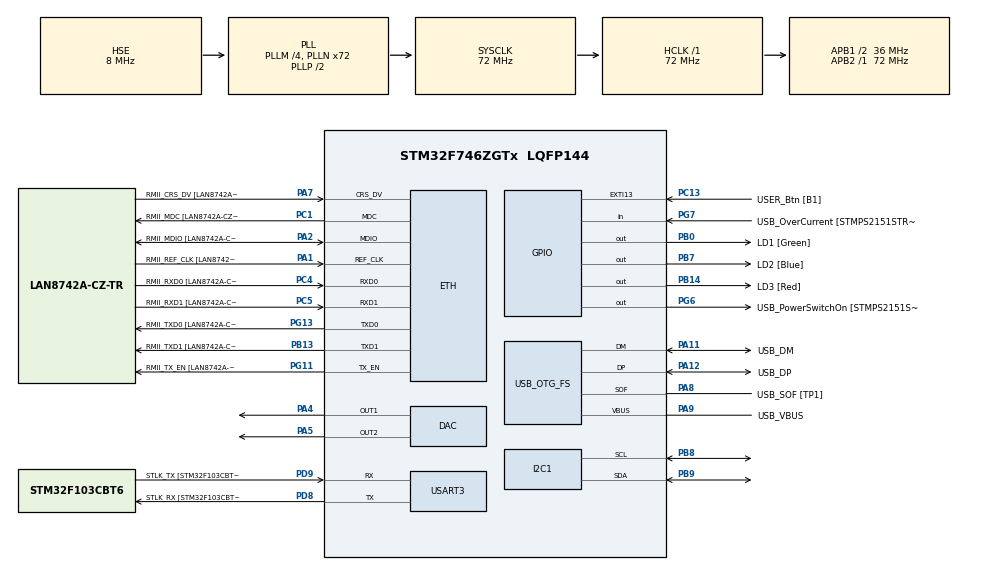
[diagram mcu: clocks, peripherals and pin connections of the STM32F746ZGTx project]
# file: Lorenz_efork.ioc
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DAC.DAC_Trigger=DAC_TRIGGER_T2_TRGO
DAC.DAC_Trigger2=DAC_TRIGGER_T2_TRGO
Dma.DAC1.0.Direction=DMA_MEMORY_TO_PERIPH
Dma.DAC1.0.FIFOMode=DMA_FIFOMODE_DISABLE
Dma.DAC1.0.Instance=DMA1_Stream5
Dma.DAC1.0.MemDataAlignment=DMA_MDATAALIGN_WORD
Dma.DAC1.0.MemInc=DMA_MINC_ENABLE
Dma.DAC1.0.Mode=DMA_CIRCULAR
Dma.DAC1.0.PeriphDataAlignment=DMA_PDATAALIGN_WORD
Dma.DAC1.0.PeriphInc=DMA_PINC_DISABLE
Dma.DAC1.0.Priority=DMA_PRIORITY_LOW
Dma.DAC2.1.Direction=DMA_MEMORY_TO_PERIPH
Dma.DAC2.1.FIFOMode=DMA_FIFOMODE_DISABLE
Dma.DAC2.1.Instance=DMA1_Stream6
Dma.DAC2.1.MemDataAlignment=DMA_MDATAALIGN_WORD
Dma.DAC2.1.MemInc=DMA_MINC_ENABLE
Dma.DAC2.1.Mode=DMA_CIRCULAR
Dma.DAC2.1.PeriphDataAlignment=DMA_PDATAALIGN_WORD
Dma.DAC2.1.PeriphInc=DMA_PINC_DISABLE
Dma.DAC2.1.Priority=DMA_PRIORITY_LOW
Dma.Request0=DAC1
Dma.Request1=DAC2
Dma.Request2=USART3_RX
Dma.Request3=USART3_TX
Dma.USART3_RX.2.Direction=DMA_PERIPH_TO_MEMORY
Dma.USART3_RX.2.FIFOMode=DMA_FIFOMODE_DISABLE
Dma.USART3_RX.2.Instance=DMA1_Stream1
Dma.USART3_RX.2.MemDataAlignment=DMA_MDATAALIGN_BYTE
Dma.USART3_RX.2.MemInc=DMA_MINC_ENABLE
Dma.USART3_RX.2.Mode=DMA_NORMAL
Dma.USART3_RX.2.PeriphDataAlignment=DMA_PDATAALIGN_BYTE
Dma.USART3_RX.2.PeriphInc=DMA_PINC_DISABLE
Dma.USART3_RX.2.Priority=DMA_PRIORITY_LOW
Dma.USART3_TX.3.Direction=DMA_MEMORY_TO_PERIPH
Dma.USART3_TX.3.FIFOMode=DMA_FIFOMODE_DISABLE
Dma.USART3_TX.3.Instance=DMA1_Stream3
Dma.USART3_TX.3.MemDataAlignment=DMA_MDATAALIGN_BYTE
Dma.USART3_TX.3.MemInc=DMA_MINC_ENABLE
Dma.USART3_TX.3.Mode=DMA_NORMAL
Dma.USART3_TX.3.PeriphDataAlignment=DMA_PDATAALIGN_BYTE
Dma.USART3_TX.3.PeriphInc=DMA_PINC_DISABLE
Dma.USART3_TX.3.Priority=DMA_PRIORITY_LOW
ETH.MediaInterface=HAL_ETH_RMII_MODE
ETH.PHY_Name=LAN8742A_PHY_ADDRESS
ETH.PHY_Value=0
ETH.PhyAddress=0
I2C1.Timing=0x00808CD2
Mcu.Family=STM32F7
Mcu.Name=STM32F746ZGTx
Mcu.Package=LQFP144
NVIC.DMA1_Stream1_IRQn=true\:0\:0\:false\:false\:true\:false\:true\:true
NVIC.DMA1_Stream3_IRQn=true\:0\:0\:false\:false\:true\:false\:true\:true
NVIC.DMA1_Stream5_IRQn=true\:0\:0\:false\:false\:true\:false\:true\:true
NVIC.DMA1_Stream6_IRQn=true\:0\:0\:false\:false\:true\:false\:true\:true
NVIC.PriorityGroup=NVIC_PRIORITYGROUP_4
NVIC.USART3_IRQn=true\:0\:0\:false\:false\:true\:true\:true\:true
PA1.GPIO_Label=RMII_REF_CLK [LAN8742A-CZ-TR_REFCLK0]
PA1.Mode=RMII
PA1.Signal=ETH_REF_CLK
PA10.GPIO_Label=USB_ID
PA10.Signal=USB_OTG_FS_ID
PA11.GPIO_Label=USB_DM
PA11.Mode=Device_Only
PA11.Signal=USB_OTG_FS_DM
PA12.GPIO_Label=USB_DP
PA12.Mode=Device_Only
PA12.Signal=USB_OTG_FS_DP
PA13.GPIO_Label=TMS
PA13.Mode=Serial_Wire
PA13.Signal=SYS_JTMS-SWDIO
PA14.GPIO_Label=TCK
PA14.Mode=Serial_Wire
PA14.Signal=SYS_JTCK-SWCLK
PA2.GPIO_Label=RMII_MDIO [LAN8742A-CZ-TR_MDIO]
PA2.Mode=RMII
PA2.Signal=ETH_MDIO
PA4.Signal=COMP_DAC1_group
PA5.Signal=COMP_DAC2_group
PA7.GPIO_Label=RMII_CRS_DV [LAN8742A-CZ-TR_CRS_DV]
PA7.Mode=RMII
PA7.Signal=ETH_CRS_DV
PA8.GPIO_Label=USB_SOF [TP1]
PA8.Mode=Activate_SOF_FS
PA8.Signal=USB_OTG_FS_SOF
PA9.GPIO_Label=USB_VBUS
PA9.Mode=Activate_VBUS
PA9.Signal=USB_OTG_FS_VBUS
PB0.GPIO_Label=LD1 [Green]
PB0.Signal=GPIO_Output
PB13.GPIO_Label=RMII_TXD1 [LAN8742A-CZ-TR_TXD1]
PB13.Mode=RMII
PB13.Signal=ETH_TXD1
PB14.GPIO_Label=LD3 [Red]
PB14.Signal=GPIO_Output
PB3.GPIO_Label=SW0
PB3.Signal=SYS_JTDO-SWO
PB7.GPIO_Label=LD2 [Blue]
PB7.Signal=GPIO_Output
PB8.Mode=I2C
PB8.Signal=I2C1_SCL
PB9.Mode=I2C
PB9.Signal=I2C1_SDA
PC1.GPIO_Label=RMII_MDC [LAN8742A-CZ-TR_MDC]
PC1.Mode=RMII
PC1.Signal=ETH_MDC
PC13.GPIO_Label=USER_Btn [B1]
PC13.Signal=GPXTI13
PC14/OSC32_IN.Mode=LSE-External-Oscillator
PC14/OSC32_IN.Signal=RCC_OSC32_IN
PC15/OSC32_OUT.Mode=LSE-External-Oscillator
PC15/OSC32_OUT.Signal=RCC_OSC32_OUT
PC4.GPIO_Label=RMII_RXD0 [LAN8742A-CZ-TR_RXD0]
PC4.Mode=RMII
PC4.Signal=ETH_RXD0
PC5.GPIO_Label=RMII_RXD1 [LAN8742A-CZ-TR_RXD1]
PC5.Mode=RMII
PC5.Signal=ETH_RXD1
PD8.GPIO_Label=STLK_RX [STM32F103CBT6_PA3]
PD8.GPIO_PuPd=GPIO_PULLUP
PD8.Mode=Asynchronous
PD8.Signal=USART3_TX
PD9.GPIO_Label=STLK_TX [STM32F103CBT6_PA2]
PD9.GPIO_PuPd=GPIO_PULLUP
PD9.Mode=Asynchronous
PD9.Signal=USART3_RX
PG11.GPIO_Label=RMII_TX_EN [LAN8742A-CZ-TR_TXEN]
PG11.Mode=RMII
PG11.Signal=ETH_TX_EN
PG13.GPIO_Label=RMII_TXD0 [LAN8742A-CZ-TR_TXD0]
PG13.Mode=RMII
PG13.Signal=ETH_TXD0
PG6.GPIO_Label=USB_PowerSwitchOn [STMPS2151STR_EN]
PG6.Signal=GPIO_Output
PG7.GPIO_Label=USB_OverCurrent [STMPS2151STR_FAULT]
PG7.Signal=GPIO_Input
PH0/OSC_IN.GPIO_Label=MCO [STM32F103CBT6_PA8]
PH0/OSC_IN.Mode=HSE-External-Clock-Source
PH0/OSC_IN.Signal=RCC_OSC_IN
PH1/OSC_OUT.Mode=HSE-External-Clock-Source
PH1/OSC_OUT.Signal=RCC_OSC_OUT
ProjectManager.HeapSize=0x200
ProjectManager.StackSize=0x400
ProjectManager.TargetToolchain=STM32CubeIDE
RCC.48MHZClocksFreq_Value=24000000
RCC.AHBFreq_Value=72000000
RCC.APB1CLKDivider=RCC_HCLK_DIV2
RCC.APB1Freq_Value=36000000
RCC.APB1TimFreq_Value=72000000
RCC.APB2Freq_Value=72000000
RCC.APB2TimFreq_Value=72000000
RCC.CortexFreq_Value=72000000
RCC.HCLKFreq_Value=72000000
RCC.HSE_VALUE=8000000
RCC.HSI_VALUE=16000000
RCC.PLLM=4
RCC.PLLMUL=RCC_PLL_MUL9
RCC.PLLN=72
RCC.PLLQ=3
RCC.PRESCALERUSB=RCC_USBCLKSOURCE_PLL_DIV1_5
RCC.SYSCLKFreq_VALUE=72000000
RCC.SYSCLKSource=RCC_SYSCLKSOURCE_PLLCLK
RCC.SYSCLKSourceVirtual=RCC_SYSCLKSOURCE_PLLCLK
RCC.USBFreq_Value=48000000
RCC.VCOOutputFreq_Value=144000000
SH.COMP_DAC1_group.0=DAC_OUT1,DAC_OUT1
SH.COMP_DAC2_group.0=DAC_OUT2,DAC_OUT2
TIM2.Period=100
TIM2.Prescaler=72-1
TIM2.TIM_MasterOutputTrigger=TIM_TRGO_UPDATE
USART3.VirtualMode-Asynchronous=VM_ASYNC
USB_OTG_FS.VirtualMode=Device_Only
VP_TIM2_VS_ClockSourceINT.Mode=Internal
board=NUCLEO-F746ZG

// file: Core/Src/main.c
/* USER CODE BEGIN Header */
/**
  ******************************************************************************
  * @file           : main.c
  * @brief          : EFORK (orden fraccionario) para Lorenz en STM32F7
  * 					Salidas DAC1/DAC2 y envío UART asíncrono (IT).
  ******************************************************************************
  * @attention
  *
  * Copyright (c) 2025 STMicroelectronics.
  * All rights reserved.
  *
  * This software is licensed under terms that can be found in the LICENSE file
  * in the root directory of this software component.
  * If no LICENSE file comes with this software, it is provided AS-IS.
  *
  ******************************************************************************
  */
/* USER CODE END Header */
#include "main.h"
#include "string.h"

/* USER CODE BEGIN Includes */
#include "math.h"
#include "stdio.h"
/* USER CODE END Includes */

/* USER CODE BEGIN PD */
#define ALPHA   0.92          // orden fraccionario (0<alpha<1)
#define DT      0.01          // paso de integración [s]
#define Lm      10.0           // ventana de memoria [s]

#define SIGMA   10.0
#define RHO     28.0
#define BETA    (8.0/3.0)

#define MAX_M   10         // máximo Lm/DT soportado
/* USER CODE END PD */

#if defined ( __ICCARM__ ) /*!< IAR Compiler */
#pragma location=0x2004c000
ETH_DMADescTypeDef  DMARxDscrTab[ETH_RX_DESC_CNT]; /* Ethernet Rx DMA Descriptors */
#pragma location=0x2004c0a0
ETH_DMADescTypeDef  DMATxDscrTab[ETH_TX_DESC_CNT]; /* Ethernet Tx DMA Descriptors */

#elif defined ( __CC_ARM )  /* MDK ARM Compiler */

__attribute__((at(0x2004c000))) ETH_DMADescTypeDef  DMARxDscrTab[ETH_RX_DESC_CNT]; /* Ethernet Rx DMA Descriptors */
__attribute__((at(0x2004c0a0))) ETH_DMADescTypeDef  DMATxDscrTab[ETH_TX_DESC_CNT]; /* Ethernet Tx DMA Descriptors */

#elif defined ( __GNUC__ ) /* GNU Compiler */

ETH_DMADescTypeDef DMARxDscrTab[ETH_RX_DESC_CNT] __attribute__((section(".RxDecripSection"))); /* Ethernet Rx DMA Descriptors */
ETH_DMADescTypeDef DMATxDscrTab[ETH_TX_DESC_CNT] __attribute__((section(".TxDecripSection")));   /* Ethernet Tx DMA Descriptors */
#endif

ETH_TxPacketConfig TxConfig;

DAC_HandleTypeDef hdac;
DMA_HandleTypeDef hdma_dac1;
DMA_HandleTypeDef hdma_dac2;

ETH_HandleTypeDef heth;

I2C_HandleTypeDef hi2c1;

TIM_HandleTypeDef htim2;

UART_HandleTypeDef huart3;
DMA_HandleTypeDef hdma_usart3_rx;
DMA_HandleTypeDef hdma_usart3_tx;

PCD_HandleTypeDef hpcd_USB_OTG_FS;

/* USER CODE BEGIN PV */
static int    m = 0;                       /* número de pasos de memoria */
static long double x_hist[MAX_M+1];       /* historial de x */
static long double y_hist[MAX_M+1];       /* historial de y */
static long double z_hist[MAX_M+1];       /* historial de z */
static long double mem_weights[MAX_M];    /* pesos precalculados */
static long double gamma_term;     /* tgamma(2-ALPHA) precalculada */

static long double h_alpha;            /* h^alpha */
static long double inv_h_gamma;        /* 1 / (h * Gamma(2-alpha)) */
static long double c2, c3;             /* abscisas de etapa EFORK */

static float mem_weights_c2[MAX_M];
static float mem_weights_c3[MAX_M];

static int idx_current = 0;                /* índice circular actual */
static int step_count  = 0;                /* contador de pasos */

static char tx_buffer[120];
static volatile uint8_t uart_busy = 0;     /* 0 = libre, 1 = ocupada */
/* USER CODE END PV */

void SystemClock_Config(void);
static void MX_GPIO_Init(void);
static void MX_DMA_Init(void);
static void MX_ETH_Init(void);
static void MX_I2C1_Init(void);
static void MX_USART3_UART_Init(void);
static void MX_USB_OTG_FS_PCD_Init(void);
static void MX_DAC_Init(void);
static void MX_TIM2_Init(void);
/* USER CODE BEGIN PFP */
/* Calcula la memoria fraccional usando pesos precalculados */
static void memory_fractional_delta3(long double delta,
                                     long double *Mx, long double *My, long double *Mz);

/* Un paso de integración EFORK (RK3-α) para Lorenz */
static void efork_step(void);

/* RHS del sistema de Lorenz */
static void system_rhs(long double x, long double y, long double z,
                        long double *dx, long double *dy, long double *dz);

/* Mapea val en [minVal, maxVal] a [0..4095] para DAC de 12 bits */
static uint32_t float_to_dac12(long double val, long double minVal, long double maxVal);

/* Envía mensaje por UART sin bloquear */
static void enviar_mensaje(const char *msg);

/* Callback al terminar transmisión UART */
void HAL_UART_TxCpltCallback(UART_HandleTypeDef *huart);
/* USER CODE END PFP */

/* USER CODE BEGIN 0 */
static inline int circ_idx(int base, int back, int N)
{
    int idx = base - back;
    if (idx < 0) idx += N;
    return idx;
}
/**
  * @brief  		: Evalúa la contribución fraccional usando pesos precalculados.
  * @note   		: Los pesos mem_weights[] se calculan al iniciar el programa.
**/

/* Suma de memoria para x,y,z con desplazamiento delta.
   Devuelve Mx,My,Mz = (1/(h*Gamma(2-alpha))) * sum_j Δ * w_j(delta) */
static void memory_fractional_delta3(long double delta,
                                     long double *Mx, long double *My, long double *Mz)
{
    const int N     = MAX_M + 1;
    const int Jmax  = (step_count < m) ? step_count : m; /* cuántos intervalos tengo realmente */
    long double sx = 0.0L, sy = 0.0L, sz = 0.0L;

    for (int j = 0; j < Jmax; ++j)
    {
        int ia = circ_idx(idx_current, j,   N); /* y_{n-j}   */
        int ib = circ_idx(idx_current, j+1, N); /* y_{n-j-1} */

        long double dx = x_hist[ia] - x_hist[ib];
        long double dy = y_hist[ia] - y_hist[ib];
        long double dz = z_hist[ia] - z_hist[ib];

        long double wj;
        if (delta == 0.0L) {
            wj = mem_weights[j];
        } else if (delta == c2) {
            wj = (long double)mem_weights_c2[j];
        } else if (delta == c3) {
            wj = (long double)mem_weights_c3[j];
        } else {
            long double t1 = ((long double)j + 1.0L + delta) * DT;
            long double t0 = ((long double)j        + delta) * DT;
            wj = powl(t1, 1.0L - ALPHA) - powl(t0, 1.0L - ALPHA);
        }

        sx += dx * wj;
        sy += dy * wj;
        sz += dz * wj;
    }

    /* Factor común 1/(h * Gamma(2-alpha)) */
    *Mx = inv_h_gamma * sx;
    *My = inv_h_gamma * sy;
    *Mz = inv_h_gamma * sz;
}

/**
  * @brief  Calcula un paso de Lorenz fraccionario usando Grünwald–Letnikov (memoria corta).
  *         x_{n+1} = x_{n} + dt^alpha * dx - (suma de estados pasados)
  * @note   Los arreglos x_hist, y_hist, z_hist contienen las muestras pasadas.
  *         idx_current marca la posición más reciente en el buffer circular.
  *         Recorremos j=1..m para sumar c_coef[j]* x_hist[idx_prev].
  *         Se usa la aproximación de memoria corta con pesos precalculados.
  */

static void system_rhs(long double x, long double y, long double z,
                        long double *dx, long double *dy, long double *dz)
{
     *dx = SIGMA * (y - x);
     *dy = RHO * x - y - x*z;
     *dz = x*y - BETA*z;
}

/**
   * @brief  Calcula un paso de Lorenz fraccionario usando Grünwald–Letnikov (memoria corta).
   *         x_{n+1} = x_{n} + dt^alpha * dx - (suma de estados pasados)
   * @note   Los arreglos x_hist, y_hist, z_hist contienen las muestras pasadas.
   *         idx_current marca la posición más reciente en el buffer circular.
   *         Recorremos j=1..m para sumar c_coef[j]* x_hist[idx_prev].
   *         Se usa la aproximación de memoria corta con pesos precalculados.
   */

static void efork_step(void)
{
    /* Coeficientes EFORK (una sola vez) */
    static int init = 0;
    static long double a21, a31, a32, w1, w2, w3;
    if (!init) {
        long double G1a = tgammal(1.0L + ALPHA);
        long double G2a = tgammal(1.0L + 2.0L*ALPHA);
        long double G3a = tgammal(1.0L + 3.0L*ALPHA);

        a21 = 1.0L / (2.0L * G1a * G1a);
        a31 = ( (G1a*G1a*G2a) + 2.0L*(G2a*G2a) - G3a )
              / ( 4.0L * G1a*G1a * (2.0L*G2a*G2a - G3a) );
        a32 = -( G2a ) / ( 4.0L * (2.0L*G2a*G2a - G3a) );

        w1 = ( 8.0L*powl(G1a,3)*powl(G2a,2) - 6.0L*powl(G1a,3)*G3a + (G2a*G3a) )
             / ( G1a*G2a*G3a );
        w2 = ( 2.0L*G1a*G1a*(4.0L*G2a*G2a - G3a) ) / ( G2a*G3a );
        w3 = -( 8.0L*G1a*G1a*(2.0L*G2a*G2a - G3a) ) / ( G2a*G3a );

        init = 1;
    }

    /* Estado actual y_n */
    long double xn = x_hist[idx_current];
    long double yn = y_hist[idx_current];
    long double zn = z_hist[idx_current];

    /* ----- K1 (delta = 0) ----- */
    long double M1x, M1y, M1z;
    memory_fractional_delta3(0.0L, &M1x, &M1y, &M1z);

    long double fx, fy, fz;
    system_rhs(xn, yn, zn, &fx, &fy, &fz);

    long double K1x = h_alpha * (fx - M1x);
    long double K1y = h_alpha * (fy - M1y);
    long double K1z = h_alpha * (fz - M1z);

    /* ----- K2 (delta = c2) ----- */
    long double x2 = xn + a21*K1x;
    long double y2 = yn + a21*K1y;
    long double z2 = zn + a21*K1z;

    long double M2x, M2y, M2z;
    memory_fractional_delta3(c2, &M2x, &M2y, &M2z);

    system_rhs(x2, y2, z2, &fx, &fy, &fz);
    long double K2x = h_alpha * (fx - M2x);
    long double K2y = h_alpha * (fy - M2y);
    long double K2z = h_alpha * (fz - M2z);

    /* ----- K3 (delta = c3) ----- */
    long double x3 = xn + a31*K1x + a32*K2x;
    long double y3 = yn + a31*K1y + a32*K2y;
    long double z3 = zn + a31*K1z + a32*K2z;

    long double M3x, M3y, M3z;
    memory_fractional_delta3(c3, &M3x, &M3y, &M3z);

    system_rhs(x3, y3, z3, &fx, &fy, &fz);
    long double K3x = h_alpha * (fx - M3x);
    long double K3y = h_alpha * (fy - M3y);
    long double K3z = h_alpha * (fz - M3z);

    /* Avance */
    long double xnp1 = xn + w1*K1x + w2*K2x + w3*K3x;
    long double ynp1 = yn + w1*K1y + w2*K2y + w3*K3y;
    long double znp1 = zn + w1*K1z + w2*K2z + w3*K3z;

    /* Push en buffer circular y contadores */
    idx_current = (idx_current + 1) % (MAX_M + 1);
    x_hist[idx_current] = xnp1;
    y_hist[idx_current] = ynp1;
    z_hist[idx_current] = znp1;
    step_count++;

    /* DAC + UART (debug) */
    HAL_DAC_SetValue(&hdac, DAC_CHANNEL_1, DAC_ALIGN_12B_R,
                     float_to_dac12(xnp1, -25.0L, 25.0L));
    HAL_DAC_SetValue(&hdac, DAC_CHANNEL_2, DAC_ALIGN_12B_R,
                     float_to_dac12(ynp1, -30.0L, 30.0L));

    char buf[96];
    snprintf(buf, sizeof(buf),
             "EFORK -> x=% .3Lf, y=% .3Lf, z=% .3Lf\r\n", xnp1, ynp1, znp1);
    enviar_mensaje(buf);
}

/**
 * @brief Mapea val en [minVal, maxVal] a [0, 4095] para DAC de 12 bits.
 */
static uint32_t float_to_dac12(long double val, long double minVal, long double maxVal)
{
    // Evita división por cero si maxVal == minVal
    long double rango = maxVal - minVal;
    if (fabsl(rango) < 1e-16) {
        rango = 1e-16;
    }

    // Mapeo lineal
    long double scale = (val - minVal) * (4095.0L / rango);

    // Saturación en [0, 4095]
    if (scale < 0.0L)    scale = 0.0L;
    if (scale > 4095.0L) scale = 4095.0L;

    return (uint32_t) scale;
}

/**
  * @brief Envía un mensaje por UART con interrupción (no bloqueante).
  *        Si la UART está ocupada, descarta (en un sistema real, podrías encolar).
  */
static void enviar_mensaje(const char *msg)
{
    if(uart_busy == 0)
    {
        uart_busy = 1;
        strncpy(tx_buffer, msg, sizeof(tx_buffer)-1);
        tx_buffer[sizeof(tx_buffer)-1] = '\0';
        HAL_UART_Transmit_IT(&huart3,
                             (uint8_t*)tx_buffer,
                             strlen(tx_buffer));
    }
    else
    {
        // UART ocupada: descartar o encolar
    }
}

/**
  * @brief Callback al terminar la transmisión por IT UART.
  */
void HAL_UART_TxCpltCallback(UART_HandleTypeDef *huart)
{
    if(huart == &huart3)
    {
        uart_busy = 0;
    }
}

/* USER CODE END 0 */

int main(void)
{

  /* MCU Configuration--------------------------------------------------------*/

  /* Reset of all peripherals, Initializes the Flash interface and the Systick. */
  HAL_Init();

  /* Configure the system clock */
  SystemClock_Config();

  /* Initialize all configured peripherals */
  MX_GPIO_Init();
  MX_DMA_Init();
  MX_ETH_Init();
  MX_I2C1_Init();
  MX_USART3_UART_Init();
  MX_USB_OTG_FS_PCD_Init();
  MX_DAC_Init();
  MX_TIM2_Init();
  /* USER CODE BEGIN 2 */
  /* temporización de referencias para DAC por TIM2 */
  HAL_TIM_Base_Start(&htim2);

  /* Calcula m = LM/DT y limita si excede MAX_M */
  m = (int)(Lm / DT);
  if (m > MAX_M) m = MAX_M;
  gamma_term = tgammal(2.0L - ALPHA);
  /* h^alpha y 1/(h*Gamma(2-alpha)) */
  h_alpha    = powl(DT, ALPHA);
  inv_h_gamma = 1.0L / (DT * gamma_term);

  /* Abscisas EFORK (3-etapas). Del apéndice del método:
     c2 = (1/(2*Gamma(1+alpha)))^(1/alpha)
     c3 = (1/(4*Gamma(1+alpha)))^(1/alpha) */
  long double G1a = tgammal(1.0L + ALPHA);
  c2 = powl(1.0L / (2.0L * G1a), 1.0L / ALPHA);
  c3 = powl(1.0L / (4.0L * G1a), 1.0L / ALPHA);

  for (int i = 0; i < m; i++) {
      long double t10 = ((long double)(i+1) + c2) * DT;
      long double t00 = ((long double)i       + c2) * DT;
      mem_weights_c2[i] = (float)(powl(t10, 1.0L - ALPHA) - powl(t00, 1.0L - ALPHA));

      long double t13 = ((long double)(i+1) + c3) * DT;
      long double t03 = ((long double)i       + c3) * DT;
      mem_weights_c3[i] = (float)(powl(t13, 1.0L - ALPHA) - powl(t03, 1.0L - ALPHA));
  }

  for (int i = 0; i < m; i++) {
	  long double t1 = (long double)(i + 1) * DT;
	  long double t0 = (long double)i * DT;
	  mem_weights[i] = powl(t1, 1.0L - ALPHA) - powl(t0, 1.0L - ALPHA);
  }

  /* Inicializa historial: tiempos negativos para memoria inicial */
  /* Inicializa historial de estados a cero */
  for (int i = 0; i <= m; i++) {
	  x_hist[i] = y_hist[i] = z_hist[i] = 0.0L;
  }
  /* Condiciones iniciales */
  x_hist[0] = 0.1L;
  y_hist[0] = 0.1L;
  z_hist[0] = 0.1L;
  idx_current = 0;
  step_count  = 0;

  /* Arranca DAC y timer para triggear DAC */
  HAL_DAC_Start(&hdac, DAC_CHANNEL_1);
  HAL_DAC_Start(&hdac, DAC_CHANNEL_2);
  HAL_TIM_Base_Start(&htim2);

  enviar_mensaje("\r\n*** EFORK Frac (Lorenz) + UART IT ***\r\n");

  /* USER CODE END 2 */

  /* Infinite loop */
  while (1)
  {
      efork_step();
      HAL_Delay(10);
  }
}

void SystemClock_Config(void)
{
  RCC_OscInitTypeDef RCC_OscInitStruct = {0};
  RCC_ClkInitTypeDef RCC_ClkInitStruct = {0};

  /** Configure LSE Drive Capability
  */
  HAL_PWR_EnableBkUpAccess();

  /** Configure the main internal regulator output voltage
  */
  __HAL_RCC_PWR_CLK_ENABLE();
  __HAL_PWR_VOLTAGESCALING_CONFIG(PWR_REGULATOR_VOLTAGE_SCALE3);

  /** Initializes the RCC Oscillators according to the specified parameters
  * in the RCC_OscInitTypeDef structure.
  */
  RCC_OscInitStruct.OscillatorType = RCC_OSCILLATORTYPE_HSE;
  RCC_OscInitStruct.HSEState = RCC_HSE_BYPASS;
  RCC_OscInitStruct.PLL.PLLState = RCC_PLL_ON;
  RCC_OscInitStruct.PLL.PLLSource = RCC_PLLSOURCE_HSE;
  RCC_OscInitStruct.PLL.PLLM = 4;
  RCC_OscInitStruct.PLL.PLLN = 72;
  RCC_OscInitStruct.PLL.PLLP = RCC_PLLP_DIV2;
  RCC_OscInitStruct.PLL.PLLQ = 3;
  if (HAL_RCC_OscConfig(&RCC_OscInitStruct) != HAL_OK)
  {
    Error_Handler();
  }

  /** Initializes the CPU, AHB and APB buses clocks
  */
  RCC_ClkInitStruct.ClockType = RCC_CLOCKTYPE_HCLK|RCC_CLOCKTYPE_SYSCLK
                              |RCC_CLOCKTYPE_PCLK1|RCC_CLOCKTYPE_PCLK2;
  RCC_ClkInitStruct.SYSCLKSource = RCC_SYSCLKSOURCE_PLLCLK;
  RCC_ClkInitStruct.AHBCLKDivider = RCC_SYSCLK_DIV1;
  RCC_ClkInitStruct.APB1CLKDivider = RCC_HCLK_DIV2;
  RCC_ClkInitStruct.APB2CLKDivider = RCC_HCLK_DIV1;

  if (HAL_RCC_ClockConfig(&RCC_ClkInitStruct, FLASH_LATENCY_2) != HAL_OK)
  {
    Error_Handler();
  }
}

static void MX_DAC_Init(void)
{

  DAC_ChannelConfTypeDef sConfig = {0};

  /** DAC Initialization
  */
  hdac.Instance = DAC;
  if (HAL_DAC_Init(&hdac) != HAL_OK)
  {
    Error_Handler();
  }

  /** DAC channel OUT1 config
  */
  sConfig.DAC_Trigger = DAC_TRIGGER_T2_TRGO;
  sConfig.DAC_OutputBuffer = DAC_OUTPUTBUFFER_ENABLE;
  if (HAL_DAC_ConfigChannel(&hdac, &sConfig, DAC_CHANNEL_1) != HAL_OK)
  {
    Error_Handler();
  }

  /** DAC channel OUT2 config
  */
  if (HAL_DAC_ConfigChannel(&hdac, &sConfig, DAC_CHANNEL_2) != HAL_OK)
  {
    Error_Handler();
  }

}

static void MX_ETH_Init(void)
{

   static uint8_t MACAddr[6];

  heth.Instance = ETH;
  MACAddr[0] = 0x00;
  MACAddr[1] = 0x80;
  MACAddr[2] = 0xE1;
  MACAddr[3] = 0x00;
  MACAddr[4] = 0x00;
  MACAddr[5] = 0x00;
  heth.Init.MACAddr = &MACAddr[0];
  heth.Init.MediaInterface = HAL_ETH_RMII_MODE;
  heth.Init.TxDesc = DMATxDscrTab;
  heth.Init.RxDesc = DMARxDscrTab;
  heth.Init.RxBuffLen = 1524;

  if (HAL_ETH_Init(&heth) != HAL_OK)
  {
    Error_Handler();
  }

  memset(&TxConfig, 0 , sizeof(ETH_TxPacketConfig));
  TxConfig.Attributes = ETH_TX_PACKETS_FEATURES_CSUM | ETH_TX_PACKETS_FEATURES_CRCPAD;
  TxConfig.ChecksumCtrl = ETH_CHECKSUM_IPHDR_PAYLOAD_INSERT_PHDR_CALC;
  TxConfig.CRCPadCtrl = ETH_CRC_PAD_INSERT;

}

static void MX_I2C1_Init(void)
{

  hi2c1.Instance = I2C1;
  hi2c1.Init.Timing = 0x00808CD2;
  hi2c1.Init.OwnAddress1 = 0;
  hi2c1.Init.AddressingMode = I2C_ADDRESSINGMODE_7BIT;
  hi2c1.Init.DualAddressMode = I2C_DUALADDRESS_DISABLE;
  hi2c1.Init.OwnAddress2 = 0;
  hi2c1.Init.OwnAddress2Masks = I2C_OA2_NOMASK;
  hi2c1.Init.GeneralCallMode = I2C_GENERALCALL_DISABLE;
  hi2c1.Init.NoStretchMode = I2C_NOSTRETCH_DISABLE;
  if (HAL_I2C_Init(&hi2c1) != HAL_OK)
  {
    Error_Handler();
  }

  /** Configure Analogue filter
  */
  if (HAL_I2CEx_ConfigAnalogFilter(&hi2c1, I2C_ANALOGFILTER_ENABLE) != HAL_OK)
  {
    Error_Handler();
  }

  /** Configure Digital filter
  */
  if (HAL_I2CEx_ConfigDigitalFilter(&hi2c1, 0) != HAL_OK)
  {
    Error_Handler();
  }

}

static void MX_TIM2_Init(void)
{

  TIM_ClockConfigTypeDef sClockSourceConfig = {0};
  TIM_MasterConfigTypeDef sMasterConfig = {0};

  htim2.Instance = TIM2;
  htim2.Init.Prescaler = 72-1;
  htim2.Init.CounterMode = TIM_COUNTERMODE_UP;
  htim2.Init.Period = 100;
  htim2.Init.ClockDivision = TIM_CLOCKDIVISION_DIV1;
  htim2.Init.AutoReloadPreload = TIM_AUTORELOAD_PRELOAD_DISABLE;
  if (HAL_TIM_Base_Init(&htim2) != HAL_OK)
  {
    Error_Handler();
  }
  sClockSourceConfig.ClockSource = TIM_CLOCKSOURCE_INTERNAL;
  if (HAL_TIM_ConfigClockSource(&htim2, &sClockSourceConfig) != HAL_OK)
  {
    Error_Handler();
  }
  sMasterConfig.MasterOutputTrigger = TIM_TRGO_UPDATE;
  sMasterConfig.MasterSlaveMode = TIM_MASTERSLAVEMODE_DISABLE;
  if (HAL_TIMEx_MasterConfigSynchronization(&htim2, &sMasterConfig) != HAL_OK)
  {
    Error_Handler();
  }

}

static void MX_USART3_UART_Init(void)
{

  huart3.Instance = USART3;
  huart3.Init.BaudRate = 115200;
  huart3.Init.WordLength = UART_WORDLENGTH_8B;
  huart3.Init.StopBits = UART_STOPBITS_1;
  huart3.Init.Parity = UART_PARITY_NONE;
  huart3.Init.Mode = UART_MODE_TX_RX;
  huart3.Init.HwFlowCtl = UART_HWCONTROL_NONE;
  huart3.Init.OverSampling = UART_OVERSAMPLING_16;
  huart3.Init.OneBitSampling = UART_ONE_BIT_SAMPLE_DISABLE;
  huart3.AdvancedInit.AdvFeatureInit = UART_ADVFEATURE_NO_INIT;
  if (HAL_UART_Init(&huart3) != HAL_OK)
  {
    Error_Handler();
  }

}

static void MX_USB_OTG_FS_PCD_Init(void)
{

  hpcd_USB_OTG_FS.Instance = USB_OTG_FS;
  hpcd_USB_OTG_FS.Init.dev_endpoints = 6;
  hpcd_USB_OTG_FS.Init.speed = PCD_SPEED_FULL;
  hpcd_USB_OTG_FS.Init.dma_enable = DISABLE;
  hpcd_USB_OTG_FS.Init.phy_itface = PCD_PHY_EMBEDDED;
  hpcd_USB_OTG_FS.Init.Sof_enable = ENABLE;
  hpcd_USB_OTG_FS.Init.low_power_enable = DISABLE;
  hpcd_USB_OTG_FS.Init.lpm_enable = DISABLE;
  hpcd_USB_OTG_FS.Init.vbus_sensing_enable = ENABLE;
  hpcd_USB_OTG_FS.Init.use_dedicated_ep1 = DISABLE;
  if (HAL_PCD_Init(&hpcd_USB_OTG_FS) != HAL_OK)
  {
    Error_Handler();
  }

}

static void MX_DMA_Init(void)
{

  /* DMA controller clock enable */
  __HAL_RCC_DMA1_CLK_ENABLE();

  /* DMA interrupt init */
  /* DMA1_Stream1_IRQn interrupt configuration */
  HAL_NVIC_SetPriority(DMA1_Stream1_IRQn, 0, 0);
  HAL_NVIC_EnableIRQ(DMA1_Stream1_IRQn);
  /* DMA1_Stream3_IRQn interrupt configuration */
  HAL_NVIC_SetPriority(DMA1_Stream3_IRQn, 0, 0);
  HAL_NVIC_EnableIRQ(DMA1_Stream3_IRQn);
  /* DMA1_Stream5_IRQn interrupt configuration */
  HAL_NVIC_SetPriority(DMA1_Stream5_IRQn, 0, 0);
  HAL_NVIC_EnableIRQ(DMA1_Stream5_IRQn);
  /* DMA1_Stream6_IRQn interrupt configuration */
  HAL_NVIC_SetPriority(DMA1_Stream6_IRQn, 0, 0);
  HAL_NVIC_EnableIRQ(DMA1_Stream6_IRQn);

}

static void MX_GPIO_Init(void)
{
  GPIO_InitTypeDef GPIO_InitStruct = {0};

  /* GPIO Ports Clock Enable */
  __HAL_RCC_GPIOC_CLK_ENABLE();
  __HAL_RCC_GPIOH_CLK_ENABLE();
  __HAL_RCC_GPIOA_CLK_ENABLE();
  __HAL_RCC_GPIOB_CLK_ENABLE();
  __HAL_RCC_GPIOD_CLK_ENABLE();
  __HAL_RCC_GPIOG_CLK_ENABLE();

  /*Configure GPIO pin Output Level */
  HAL_GPIO_WritePin(GPIOB, LD1_Pin|LD3_Pin|LD2_Pin, GPIO_PIN_RESET);

  /*Configure GPIO pin Output Level */
  HAL_GPIO_WritePin(USB_PowerSwitchOn_GPIO_Port, USB_PowerSwitchOn_Pin, GPIO_PIN_RESET);

  /*Configure GPIO pin : USER_Btn_Pin */
  GPIO_InitStruct.Pin = USER_Btn_Pin;
  GPIO_InitStruct.Mode = GPIO_MODE_IT_RISING;
  GPIO_InitStruct.Pull = GPIO_NOPULL;
  HAL_GPIO_Init(USER_Btn_GPIO_Port, &GPIO_InitStruct);

  /*Configure GPIO pins : LD1_Pin LD3_Pin LD2_Pin */
  GPIO_InitStruct.Pin = LD1_Pin|LD3_Pin|LD2_Pin;
  GPIO_InitStruct.Mode = GPIO_MODE_OUTPUT_PP;
  GPIO_InitStruct.Pull = GPIO_NOPULL;
  GPIO_InitStruct.Speed = GPIO_SPEED_FREQ_LOW;
  HAL_GPIO_Init(GPIOB, &GPIO_InitStruct);

  /*Configure GPIO pin : USB_PowerSwitchOn_Pin */
  GPIO_InitStruct.Pin = USB_PowerSwitchOn_Pin;
  GPIO_InitStruct.Mode = GPIO_MODE_OUTPUT_PP;
  GPIO_InitStruct.Pull = GPIO_NOPULL;
  GPIO_InitStruct.Speed = GPIO_SPEED_FREQ_LOW;
  HAL_GPIO_Init(USB_PowerSwitchOn_GPIO_Port, &GPIO_InitStruct);

  /*Configure GPIO pin : USB_OverCurrent_Pin */
  GPIO_InitStruct.Pin = USB_OverCurrent_Pin;
  GPIO_InitStruct.Mode = GPIO_MODE_INPUT;
  GPIO_InitStruct.Pull = GPIO_NOPULL;
  HAL_GPIO_Init(USB_OverCurrent_GPIO_Port, &GPIO_InitStruct);

}

void Error_Handler(void)
{
  __disable_irq();
  while (1)
  {
  }
}
